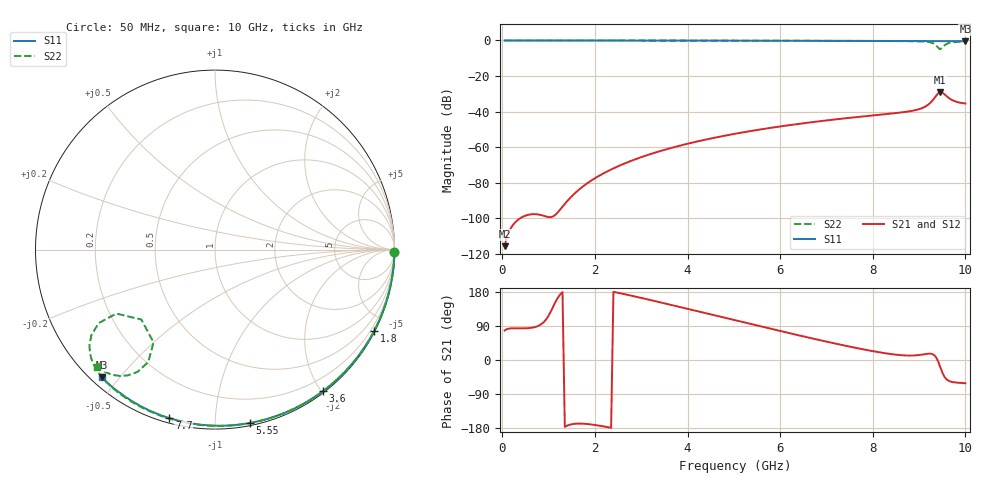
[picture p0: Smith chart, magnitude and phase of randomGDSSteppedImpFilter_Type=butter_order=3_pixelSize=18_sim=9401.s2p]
! freq	dB(S11)	phase(S11)	dB(S12)	phase(S12)
!  dB(S21)	phase(S21)	dB(S22)	phase(S22)
!S-par simulation data
#  GHz  S  DB  R 50
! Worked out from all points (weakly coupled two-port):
!   200 points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, 50 MHz to 10 GHz, reference 50 ohm
!   highest |S21| = -29.04 dB at 9.45 GHz (marker M1); lowest = -115.7 dB at 50 MHz (marker M2)
!   lowest |S11| = -0.4 dB at 10 GHz (marker M3), VSWR 39.37, Z = 1.53 - j22.5 ohm
!   |S11| at or under -10 dB: nowhere
!   |S22| runs from -4.9 to 0.0 dB; largest |S21 - S12| = 0
!   S11 on the Smith chart (normalised r, x): 50 MHz: open; 1.8 GHz: 0.04, -4.17; 3.6 GHz: 0.02, -2.02; 5.55 GHz: 0.02, -1.22; 7.7 GHz: 0.02, -0.77; 10 GHz: 0.03, -0.45
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0.05  -0.00 -0.8  -115.74 78.0  -115.74 78.0  -0.00 -0.8
1.75  -0.03 -26.2  -81.97 -168.1  -81.97 -168.1  -0.04 -28.2
1.8  -0.03 -27.0  -81.00 -168.5  -81.00 -168.5  -0.04 -29.0
1.85  -0.04 -27.7  -80.08 -169.1  -80.08 -169.1  -0.04 -29.8
2.55  -0.05 -37.9  -70.21 176.1  -70.21 176.1  -0.05 -40.7
3.4  -0.07 -49.9  -62.30 152.5  -62.30 152.5  -0.07 -53.6
3.6  -0.07 -52.7  -60.81 146.7  -60.81 146.7  -0.08 -56.6
5.05  -0.11 -72.2  -52.38 104.0  -52.38 104.0  -0.12 -77.6
5.55  -0.13 -78.7  -50.17 89.4  -50.17 89.4  -0.14 -84.5
6.7  -0.18 -93.1  -45.93 56.7  -45.93 56.7  -0.19 -100.1
7.7  -0.24 -105.1  -42.99 30.3  -42.99 30.3  -0.26 -113.5
8.35  -0.29 -112.7  -41.27 16.4  -41.27 16.4  -0.33 -122.5
8.95  -0.34 -119.6  -39.02 12.4  -39.02 12.4  -0.48 -132.8
9.1  -0.35 -121.3  -37.66 14.9  -37.66 14.9  -0.63 -136.7
9.25  -0.37 -123.0  -34.90 16.7  -34.90 16.7  -1.11 -142.6
9.35  -0.38 -124.1  -31.75 10.2  -31.75 10.2  -2.31 -147.7
9.4  -0.38 -124.7  -30.05 -0.1  -30.05 -0.1  -3.68 -147.1
9.45  -0.38 -125.2  -29.04 -16.0  -29.04 -16.0  -4.94 -136.5
9.5  -0.38 -125.8  -29.26 -32.7  -29.26 -32.7  -4.16 -123.5
9.6  -0.39 -127.0  -31.50 -51.8  -31.50 -51.8  -1.87 -122.4
9.75  -0.41 -128.7  -33.98 -58.8  -33.98 -58.8  -0.94 -128.8
10  -0.44 -131.5  -35.47 -61.4  -35.47 -61.4  -0.66 -135.4
